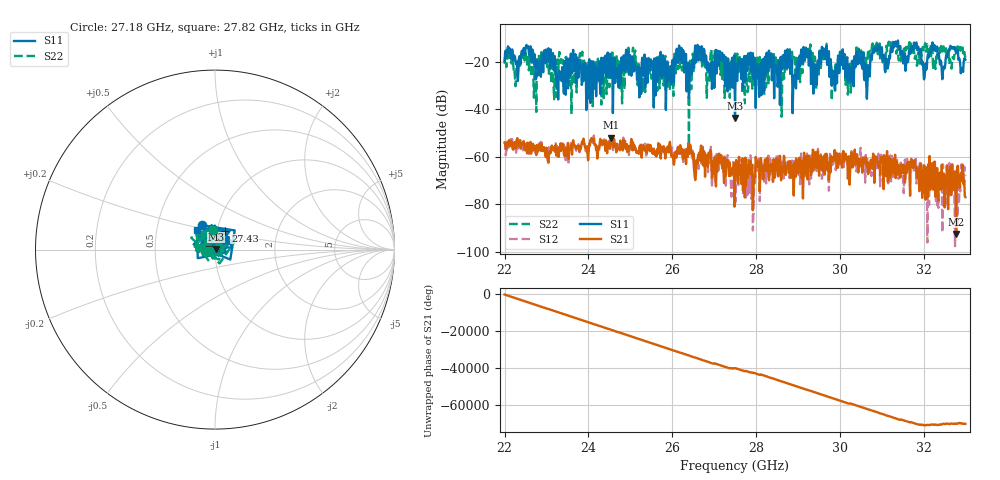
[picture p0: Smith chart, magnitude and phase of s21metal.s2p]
!Keysight Technologies,N5224B,MY57181201,A.12.70.07
!Date: Friday, July 15, 2022 16:12:33
!Correction: S11(Full 2 Port(1,2))
!S21(Full 2 Port(1,2))
!S12(Full 2 Port(1,2))
!S22(Full 2 Port(1,2))
!S2P File: Measurements: S11, S21, S12, S22:
# Hz S  dB  R 50
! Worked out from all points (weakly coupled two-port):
!   801 points, 22 GHz to 33 GHz, reference 50 ohm
!   highest |S21| = -51.97 dB at 24.54 GHz (marker M1); lowest = -92.6 dB at 32.78 GHz (marker M2)
!   lowest |S11| = -43.7 dB at 27.5 GHz (marker M3), VSWR 1.01, Z = 50.6 + j0.327 ohm
!   |S11| at or under -10 dB: start of sweep to end of sweep
!   |S22| runs from -55.1 to -11.6 dB; largest |S21 - S12| = 0.00093
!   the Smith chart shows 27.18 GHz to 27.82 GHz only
!   S11 on the Smith chart (normalised r, x): 27.18 GHz: 0.84, +0.23; 27.43 GHz: 1.10, +0.24; 27.82 GHz: 0.80, +0.18
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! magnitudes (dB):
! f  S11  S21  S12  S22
! 22 GHz  -19.7  -54.2  -53.4  -20.8
! 23.84 GHz  -29.8  -54.1  -54.9  -16.5
! 24.54 GHz  -22.0  -52.0  -53.7  -24.9
! 25.67 GHz  -21.0  -54.3  -54.6  -17.9
! 26.66 GHz  -13.9  -58.1  -60.2  -19.1
! 26.95 GHz  -31.5  -69.0  -72.9  -23.2
! 27.18 GHz  -16.3  -63.4  -63.0  -19.4
! 27.43 GHz  -18.3  -65.1  -64.8  -27.8
! 27.5 GHz  -43.7  -67.5  -72.5  -16.6
! 27.82 GHz  -16.5  -63.4  -61.3  -31.2
! 28.53 GHz  -28.4  -68.3  -66.4  -19.2
! 28.75 GHz  -14.8  -64.6  -62.3  -20.8
! 28.93 GHz  -25.3  -63.3  -61.5  -21.7
! 29.19 GHz  -14.1  -60.1  -63.4  -14.1
! 29.34 GHz  -19.8  -66.5  -66.1  -18.2
! 29.63 GHz  -14.7  -65.9  -59.5  -14.3
! 29.85 GHz  -24.0  -61.2  -61.9  -27.5
! 30.02 GHz  -15.9  -62.7  -62.4  -15.7
! 30.22 GHz  -21.7  -60.1  -59.8  -23.3
! 31.17 GHz  -20.2  -60.3  -59.0  -11.6
! 32.78 GHz  -16.0  -92.6  -80.2  -16.9
! 33 GHz  -19.1  -77.1  -68.2  -18.3
